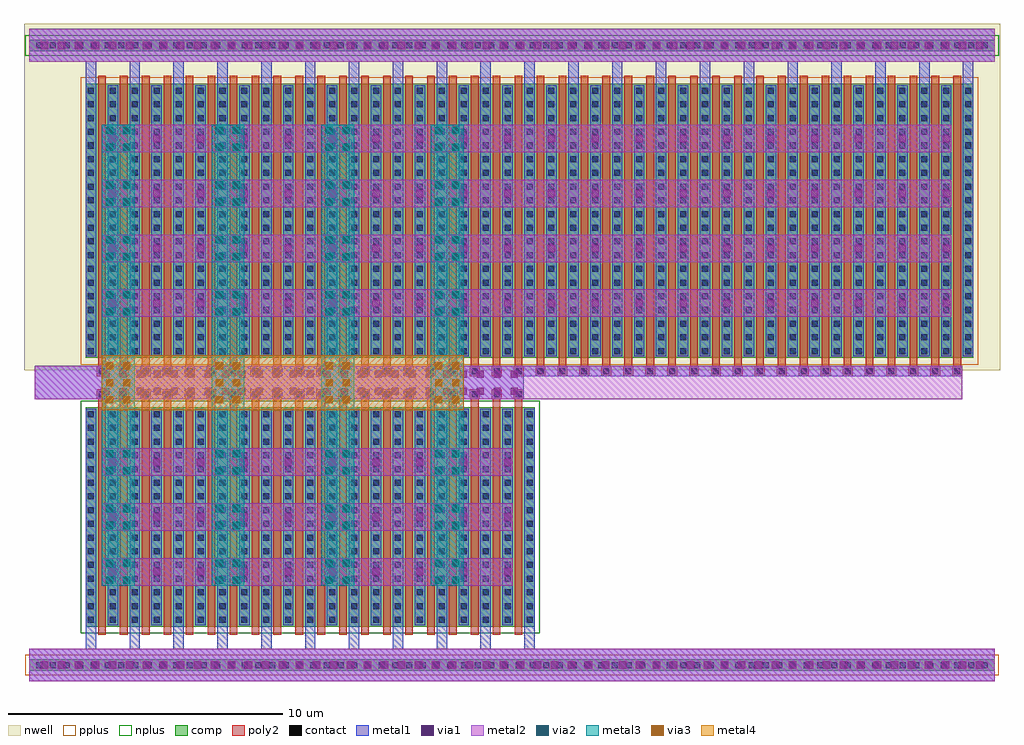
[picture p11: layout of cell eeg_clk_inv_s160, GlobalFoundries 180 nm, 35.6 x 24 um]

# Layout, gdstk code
import gdstk
lib = gdstk.Library(unit=1e-6, precision=1e-09)
def R(c, l, rs):  # rectangles x0, y0, x1, y1
    for r in rs: c.add(gdstk.rectangle(r[:2], r[2:], *l))
def A(c, l, x, y, w, h, nx, ny, dx, dy):  # array of equal rectangles
    R(c, l, [(x+i*dx, y+j*dy, x+i*dx+w, y+j*dy+h) for i in range(nx) for j in range(ny)])
nwell = (21, 0)
comp = (22, 0)
poly2 = (30, 0)
pplus = (31, 0)
nplus = (32, 0)
contact = (33, 0)
metal1 = (34, 0)
via1 = (35, 0)
metal2 = (36, 0)
via2 = (38, 0)
via3 = (40, 0)
metal3 = (42, 0)
metal4 = (46, 0)

eeg_clk_inv_s160 = lib.new_cell('eeg_clk_inv_s160')
R(eeg_clk_inv_s160, nwell, [(-0.2,11.35,35.4,24)])
R(eeg_clk_inv_s160, comp, [(0,0.39,35.2,0.81), (2.05,2,18.43,10), (2.05,11.8,34.43,21.8), (0,22.99,35.2,23.41)])
A(eeg_clk_inv_s160, poly2, 2.5, 1.7, 0.28, 8.96, 20, 1, 0.8, 0)
A(eeg_clk_inv_s160, poly2, 2.46, 10.3, 0.36, 0.36, 20, 1, 0.8, 0)
A(eeg_clk_inv_s160, poly2, 2.46, 11.14, 0.36, 0.36, 40, 1, 0.8, 0)
A(eeg_clk_inv_s160, poly2, 2.5, 11.14, 0.28, 10.96, 40, 1, 0.8, 0)
R(eeg_clk_inv_s160, pplus, [(-0.16,0.23,35.36,0.97), (1.87,11.56,34.61,22.04)])
R(eeg_clk_inv_s160, nplus, [(1.87,1.76,18.61,10.24), (-0.16,22.83,35.36,23.57)])
A(eeg_clk_inv_s160, contact, 0.24, 0.49, 0.22, 0.22, 70, 2, 0.5, 22.6)
A(eeg_clk_inv_s160, contact, 2.13, 2.14, 0.22, 0.22, 21, 16, 0.8, 0.5)
A(eeg_clk_inv_s160, contact, 2.53, 10.37, 0.22, 0.22, 20, 1, 0.8, 0)
A(eeg_clk_inv_s160, contact, 2.53, 11.21, 0.22, 0.22, 40, 1, 0.8, 0)
A(eeg_clk_inv_s160, contact, 2.13, 11.94, 0.22, 0.22, 41, 20, 0.8, 0.5)
A(eeg_clk_inv_s160, metal1, 2.05, 0.6, 0.38, 9.34, 11, 1, 1.6, 0)
A(eeg_clk_inv_s160, metal1, 2.85, 2.06, 0.38, 7.88, 10, 1, 1.6, 0)
A(eeg_clk_inv_s160, metal1, 2.05, 11.86, 0.38, 11.34, 21, 1, 1.6, 0)
A(eeg_clk_inv_s160, metal1, 2.85, 11.86, 0.38, 9.88, 20, 1, 1.6, 0)
R(eeg_clk_inv_s160, metal1, [(0,0,35.2,1.2), (0.2,0.1,35,1.1), (0,0.39,35.2,0.81), (0.2,10.29,18.03,11.51), (2.45,10.29,18.03,10.67), (2.45,10.29,18.03,11.51), (2.45,11.13,34.03,11.51), (0,22.6,35.2,23.8), (0.2,22.7,35,23.7), (0,22.99,35.2,23.41)])
A(eeg_clk_inv_s160, via1, 0.42, 0.47, 0.26, 0.26, 56, 2, 0.62, 22.6)
A(eeg_clk_inv_s160, via1, 2.91, 3.87, 0.26, 0.26, 10, 3, 1.6, 2)
A(eeg_clk_inv_s160, via1, 2.67, 10.46, 0.26, 0.26, 25, 2, 0.62, 0.62)
A(eeg_clk_inv_s160, via1, 2.91, 13.67, 0.26, 0.26, 20, 4, 1.6, 2)
A(eeg_clk_inv_s160, metal2, 2.64, 3.5, 1.2, 1, 4, 3, 4, 2)
A(eeg_clk_inv_s160, metal2, 2.85, 3.5, 14.78, 1, 1, 3, 0, 2)
A(eeg_clk_inv_s160, metal2, 2.64, 13.3, 1.2, 1, 4, 4, 4, 2)
A(eeg_clk_inv_s160, metal2, 2.85, 13.3, 30.78, 1, 1, 4, 0, 2)
R(eeg_clk_inv_s160, metal2, [(0,0,35.2,1.2), (0.2,0.1,35,1.1), (0.2,10.29,34.03,11.51), (2.45,10.29,18.03,11.51), (0,22.6,35.2,23.8), (0.2,22.7,35,23.7)])
R(eeg_clk_inv_s160, via2, [(2.8,3.56,3.06,3.82), (3.42,3.56,3.68,3.82), (6.8,3.56,7.06,3.82), (7.42,3.56,7.68,3.82), (10.8,3.56,11.06,3.82), (11.42,3.56,11.68,3.82), (14.8,3.56,15.06,3.82), (15.42,3.56,15.68,3.82), (2.8,4.18,3.06,4.44), (3.42,4.18,3.68,4.44), (6.8,4.18,7.06,4.44), (7.42,4.18,7.68,4.44), (10.8,4.18,11.06,4.44), (11.42,4.18,11.68,4.44), (14.8,4.18,15.06,4.44), (15.42,4.18,15.68,4.44), (2.8,5.56,3.06,5.82), (3.42,5.56,3.68,5.82), (6.8,5.56,7.06,5.82), (7.42,5.56,7.68,5.82), (10.8,5.56,11.06,5.82), (11.42,5.56,11.68,5.82), (14.8,5.56,15.06,5.82), (15.42,5.56,15.68,5.82), (2.8,6.18,3.06,6.44), (3.42,6.18,3.68,6.44), (6.8,6.18,7.06,6.44), (7.42,6.18,7.68,6.44), (10.8,6.18,11.06,6.44), (11.42,6.18,11.68,6.44), (14.8,6.18,15.06,6.44), (15.42,6.18,15.68,6.44), (2.8,7.56,3.06,7.82), (3.42,7.56,3.68,7.82), (6.8,7.56,7.06,7.82), (7.42,7.56,7.68,7.82), (10.8,7.56,11.06,7.82), (11.42,7.56,11.68,7.82), (14.8,7.56,15.06,7.82), (15.42,7.56,15.68,7.82), (2.8,8.18,3.06,8.44), (3.42,8.18,3.68,8.44), (6.8,8.18,7.06,8.44), (7.42,8.18,7.68,8.44), (10.8,8.18,11.06,8.44), (11.42,8.18,11.68,8.44), (14.8,8.18,15.06,8.44), (15.42,8.18,15.68,8.44), (2.8,13.36,3.06,13.62), (3.42,13.36,3.68,13.62), (6.8,13.36,7.06,13.62), (7.42,13.36,7.68,13.62), (10.8,13.36,11.06,13.62), (11.42,13.36,11.68,13.62), (14.8,13.36,15.06,13.62), (15.42,13.36,15.68,13.62), (2.8,13.98,3.06,14.24), (3.42,13.98,3.68,14.24), (6.8,13.98,7.06,14.24), (7.42,13.98,7.68,14.24), (10.8,13.98,11.06,14.24), (11.42,13.98,11.68,14.24), (14.8,13.98,15.06,14.24), (15.42,13.98,15.68,14.24), (2.8,15.36,3.06,15.62), (3.42,15.36,3.68,15.62), (6.8,15.36,7.06,15.62), (7.42,15.36,7.68,15.62), (10.8,15.36,11.06,15.62), (11.42,15.36,11.68,15.62), (14.8,15.36,15.06,15.62), (15.42,15.36,15.68,15.62), (2.8,15.98,3.06,16.24), (3.42,15.98,3.68,16.24), (6.8,15.98,7.06,16.24), (7.42,15.98,7.68,16.24), (10.8,15.98,11.06,16.24), (11.42,15.98,11.68,16.24), (14.8,15.98,15.06,16.24), (15.42,15.98,15.68,16.24), (2.8,17.36,3.06,17.62), (3.42,17.36,3.68,17.62), (6.8,17.36,7.06,17.62), (7.42,17.36,7.68,17.62), (10.8,17.36,11.06,17.62), (11.42,17.36,11.68,17.62), (14.8,17.36,15.06,17.62), (15.42,17.36,15.68,17.62), (2.8,17.98,3.06,18.24), (3.42,17.98,3.68,18.24), (6.8,17.98,7.06,18.24), (7.42,17.98,7.68,18.24), (10.8,17.98,11.06,18.24), (11.42,17.98,11.68,18.24), (14.8,17.98,15.06,18.24), (15.42,17.98,15.68,18.24), (2.8,19.36,3.06,19.62), (3.42,19.36,3.68,19.62), (6.8,19.36,7.06,19.62), (7.42,19.36,7.68,19.62), (10.8,19.36,11.06,19.62), (11.42,19.36,11.68,19.62), (14.8,19.36,15.06,19.62), (15.42,19.36,15.68,19.62), (2.8,19.98,3.06,20.24), (3.42,19.98,3.68,20.24), (6.8,19.98,7.06,20.24), (7.42,19.98,7.68,20.24), (10.8,19.98,11.06,20.24), (11.42,19.98,11.68,20.24), (14.8,19.98,15.06,20.24), (15.42,19.98,15.68,20.24)])
A(eeg_clk_inv_s160, via3, 2.8, 10.15, 0.26, 0.26, 1, 3, 0, 0.62)
A(eeg_clk_inv_s160, via3, 3.42, 10.15, 0.26, 0.26, 1, 3, 0, 0.62)
A(eeg_clk_inv_s160, via3, 6.8, 10.15, 0.26, 0.26, 1, 3, 0, 0.62)
A(eeg_clk_inv_s160, via3, 7.42, 10.15, 0.26, 0.26, 1, 3, 0, 0.62)
A(eeg_clk_inv_s160, via3, 10.8, 10.15, 0.26, 0.26, 1, 3, 0, 0.62)
A(eeg_clk_inv_s160, via3, 11.42, 10.15, 0.26, 0.26, 1, 3, 0, 0.62)
A(eeg_clk_inv_s160, via3, 14.8, 10.15, 0.26, 0.26, 1, 3, 0, 0.62)
A(eeg_clk_inv_s160, via3, 15.42, 10.15, 0.26, 0.26, 1, 3, 0, 0.62)
A(eeg_clk_inv_s160, metal3, 2.64, 3.5, 1.2, 16.8, 4, 1, 4, 0)
A(eeg_clk_inv_s160, metal3, 2.64, 3.5, 1.2, 1, 4, 3, 4, 2)
A(eeg_clk_inv_s160, metal3, 2.64, 9.9, 1.2, 2, 4, 1, 4, 0)
A(eeg_clk_inv_s160, metal3, 2.64, 13.3, 1.2, 1, 4, 4, 4, 2)
A(eeg_clk_inv_s160, metal4, 2.64, 9.9, 1.2, 2, 4, 1, 4, 0)
R(eeg_clk_inv_s160, metal4, [(2.64,9.9,15.84,11.9)])

lib.write_gds('eeg_clk_inv_s160.gds')
